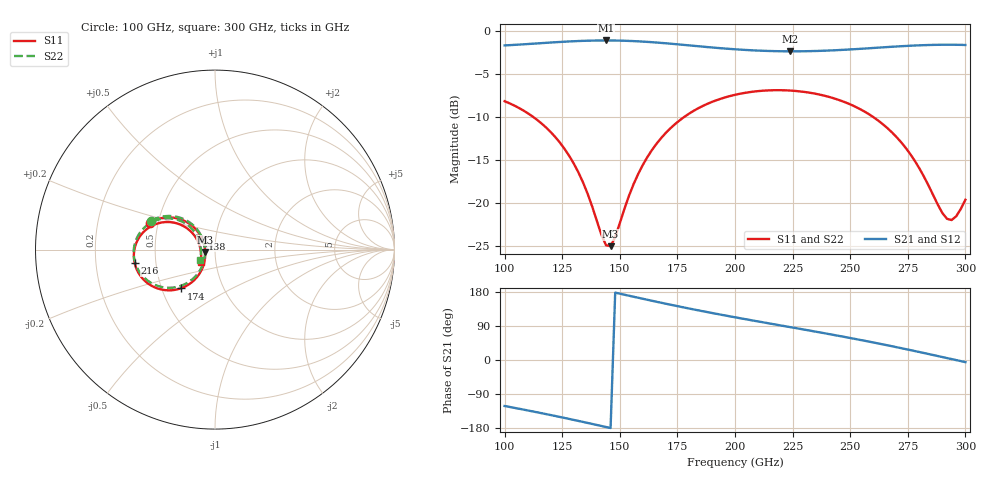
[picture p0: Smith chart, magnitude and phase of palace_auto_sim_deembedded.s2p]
! Created with skrf 1.11.0 (http://scikit-rf.org).
# GHz S DB R 50.0
!freq dBS11 angS11 dBS21 angS21 dBS12 angS12 dBS22 angS22
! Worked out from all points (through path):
!   101 points, 100 GHz to 300 GHz, reference 50 ohm
!   highest |S21| = -1.05 dB at 144 GHz (marker M1); lowest = -2.3 dB at 224 GHz (marker M2)
!   group delay of S21, straight-line fit = 3.34 ps
!   lowest |S11| = -25.0 dB at 146 GHz (marker M3), VSWR 1.12, Z = 44.8 - j1.17 ohm
!   |S11| at or under -10 dB: 112.6 GHz to 177.8 GHz (65.26 GHz wide, 44.9 % of centre); 260.1 GHz to end of sweep
!   |S22| runs from -25.0 to -6.9 dB; largest |S21 - S12| = 9.6e-14
!   S11 on the Smith chart (normalised r, x): 100 GHz: 0.45, +0.16; 138 GHz: 0.86, +0.11; 174 GHz: 0.63, -0.30; 216 GHz: 0.38, -0.07; 300 GHz: 0.84, -0.11
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100  -8.14 157.4  -1.63 -121.4  -1.63 -121.4  -8.15 155.8
110  -9.53 147.8  -1.47 -133.0  -1.47 -133.0  -9.53 146.0
120  -11.73 139.0  -1.30 -145.3  -1.30 -145.3  -11.74 137.1
128  -14.49 134.1  -1.17 -155.5  -1.17 -155.5  -14.50 132.1
134  -17.58 134.3  -1.10 -163.4  -1.10 -163.4  -17.58 132.2
138  -20.40 139.9  -1.07 -168.7  -1.07 -168.7  -20.38 137.8
144  -24.92 173.7  -1.05 -176.8  -1.05 -176.8  -24.84 171.4
146  -25.04 -166.5  -1.06 -179.5  -1.06 -179.5  -24.95 -169.1
158  -16.61 -122.9  -1.16 164.2  -1.16 164.2  -16.61 -125.8
168  -12.42 -126.6  -1.34 151.1  -1.34 151.1  -12.43 -129.6
174  -10.80 -131.4  -1.48 143.4  -1.48 143.4  -10.81 -134.5
186  -8.69 -142.5  -1.78 128.8  -1.78 128.8  -8.71 -145.7
200  -7.39 -155.7  -2.08 112.7  -2.08 112.7  -7.41 -159.1
216  -6.86 -170.4  -2.29 95.3  -2.29 95.3  -6.88 -174.1
224  -6.90 -177.6  -2.32 86.7  -2.32 86.7  -6.91 178.5
234  -7.22 173.4  -2.29 75.9  -2.29 75.9  -7.24 169.4
252  -8.75 157.6  -2.07 55.8  -2.07 55.8  -8.77 153.2
268  -11.74 145.6  -1.79 36.5  -1.79 36.5  -11.76 140.8
278  -15.08 142.9  -1.65 23.7  -1.65 23.7  -15.11 137.9
292  -21.85 178.1  -1.55 5.1  -1.55 5.1  -21.96 173.0
296  -21.56 -157.3  -1.56 -0.2  -1.56 -0.2  -21.67 -162.1
300  -19.63 -140.0  -1.58 -5.6  -1.58 -5.6  -19.71 -144.7
